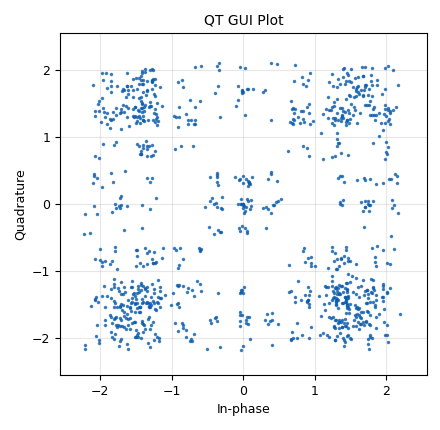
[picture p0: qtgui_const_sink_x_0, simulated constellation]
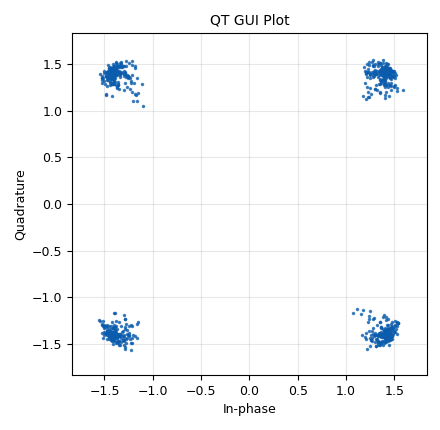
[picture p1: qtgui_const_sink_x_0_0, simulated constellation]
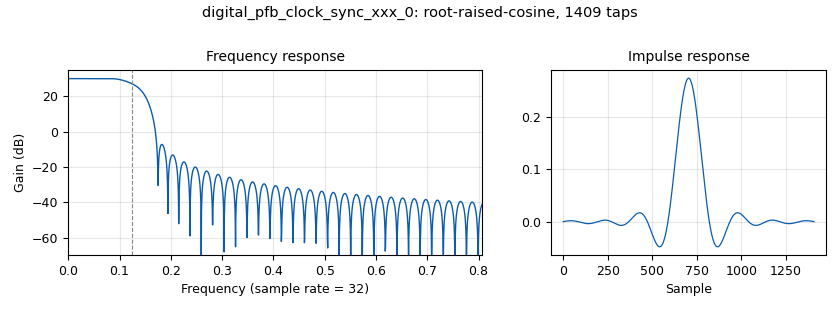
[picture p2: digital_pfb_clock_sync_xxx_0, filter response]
options:
  parameters:
    category: Custom
    generate_options: qt_gui
    id: mpsk_stage3
    output_language: python
  states: {}

blocks:
- name: arity
  id: variable
  parameters:
    value: '4'
  states: {}
- name: freq_offset
  id: variable_qtgui_range
  parameters:
    gui_hint: 2,1,1,1
    label: 'Channel: Frequency Offset'
    start: '-0.1'
    step: '0.001'
    stop: '0.1'
    value: '0'
  states: {}
- name: nfilts
  id: variable
  parameters:
    value: '32'
  states: {}
- name: noise_volt
  id: variable_qtgui_range
  parameters:
    gui_hint: 2,0,1,1
    label: 'Channel: Noise Voltage'
    start: '0'
    step: '0.01'
    stop: '1'
    value: '0.0'
  states: {}
- name: rrc_taps
  id: variable
  parameters:
    value: firdes.root_raised_cosine(nfilts, nfilts, 1.0/float(sps), 0.35, 11*sps*nfilts)
  states: {}
- name: samp_rate
  id: variable
  parameters:
    value: '32000'
  states: {}
- name: sps
  id: variable
  parameters:
    value: '4'
  states: {}
- name: taps
  id: variable
  parameters:
    value: '[1.0 + 0.0j, ]'
  states: {}
- name: time_offset
  id: variable_qtgui_range
  parameters:
    gui_hint: 3,0,1,1
    label: 'Channel: Timing Offset'
    start: '0.999'
    step: '0.0001'
    stop: '1.001'
    value: '1.00'
  states: {}
- name: timing_loop_bw
  id: variable_qtgui_range
  parameters:
    gui_hint: 3,1,1,1
    label: 'Time: BW'
    start: '0.0'
    step: '0.005'
    stop: '0.2'
    value: 6.28/100.0
  states: {}
- name: variable_constellation_0
  id: variable_constellation
  parameters:
    precision: '8'
    type: qpsk
  states: {}
- name: analog_random_source_x_0
  id: analog_random_source_x
  parameters:
    max: '256'
    min: '0'
    num_samps: '1000'
    repeat: 'True'
    type: byte
  states: {}
- name: blocks_throttle2_0
  id: blocks_throttle2
  parameters:
    samples_per_second: samp_rate
    type: complex
  states: {}
- name: channels_channel_model_0
  id: channels_channel_model
  parameters:
    epsilon: time_offset
    freq_offset: freq_offset
    noise_voltage: noise_volt
    seed: '0'
    taps: taps
  states: {}
- name: digital_constellation_modulator_0
  id: digital_constellation_modulator
  parameters:
    constellation: variable_constellation_0
    differential: 'False'
    excess_bw: '0.35'
    samples_per_symbol: sps
  states: {}
- name: digital_pfb_clock_sync_xxx_0
  id: digital_pfb_clock_sync_xxx
  parameters:
    filter_size: nfilts
    init_phase: nfilts/2
    loop_bw: timing_loop_bw
    max_dev: '1.5'
    osps: '1'
    sps: sps
    taps: rrc_taps
    type: ccf
  states: {}
- name: qtgui_const_sink_x_0
  id: qtgui_const_sink_x
  parameters:
    autoscale: 'True'
    gui_hint: 0,0,1,1
    name: QT GUI Plot
    size: '1024'
    type: complex
  states: {}
- name: qtgui_const_sink_x_0_0
  id: qtgui_const_sink_x
  parameters:
    autoscale: 'True'
    gui_hint: 0,1,1,1
    name: QT GUI Plot
    size: '1024'
    type: complex
  states: {}

connections:
- [analog_random_source_x_0, '0', digital_constellation_modulator_0, '0']
- [blocks_throttle2_0, '0', channels_channel_model_0, '0']
- [channels_channel_model_0, '0', digital_pfb_clock_sync_xxx_0, '0']
- [channels_channel_model_0, '0', qtgui_const_sink_x_0, '0']
- [digital_constellation_modulator_0, '0', blocks_throttle2_0, '0']
- [digital_pfb_clock_sync_xxx_0, '0', qtgui_const_sink_x_0_0, '0']

metadata:
  file_format: 1
  grc_version: 3.10.10.0
